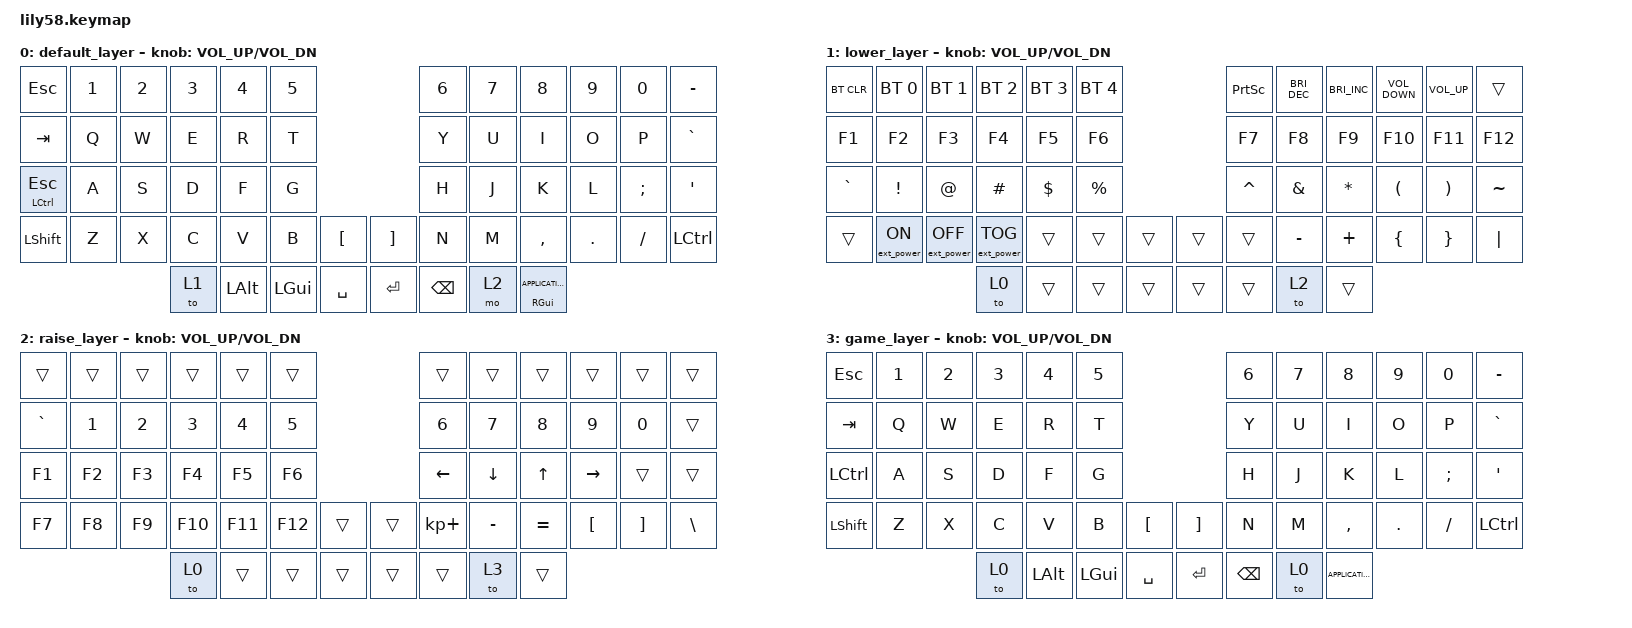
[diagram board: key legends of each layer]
/*
 * Copyright (c) 2020 The ZMK Contributors
 *
 * SPDX-License-Identifier: MIT
 */

#include <behaviors.dtsi>
#include <dt-bindings/zmk/keys.h>
#include <dt-bindings/zmk/bt.h>
#include <dt-bindings/zmk/ext_power.h>

/ {
    behaviors {
        bhm: balanced_homerow_mods {
            compatible = "zmk,behavior-hold-tap";
            #binding-cells = <2>;
            tapping-term-ms = <200>;    // <---[[moderate duration]]
            quick-tap-ms = <0>;
            flavor = "balanced";
            bindings = <&kp>, <&kp>;
        };
    };

    keymap {
        compatible = "zmk,keymap";

        default_layer {
// ------------------------------------------------------------------------------------------------------------
// |  ESC  |  1  |  2  |  3   |  4   |  5   |                   |  6   |  7    |  8    |  9   |   0   |   `   |
// |  TAB  |  Q  |  W  |  E   |  R   |  T   |                   |  Y   |  U    |  I    |  O   |   P   |   -   |
// |  CTRL |  A  |  S  |  D   |  F   |  G   |                   |  H   |  J    |  K    |  L   |   ;   |   '   |
// | SHIFT |  Z  |  X  |  C   |  V   |  B   |   "["  |  |  "]"  |  N   |  M    |  ,    |  .   |   /   |  ESC  |
//                     | ALT  | GUI  | LOWER|  SPACE |  | ENTER | RAISE| BSPC  | GUI   |
            bindings = <
&kp ESC          &kp N1 &kp N2 &kp N3   &kp N4   &kp N5                          &kp N6    &kp N7   &kp N8    &kp N9  &kp N0   &kp MINUS
&kp TAB          &kp Q  &kp W  &kp E    &kp R    &kp T                           &kp Y     &kp U    &kp I     &kp O   &kp P    &kp GRAVE
&bhm LCTRL ESC   &kp A  &kp S  &kp D    &kp F    &kp G                           &kp H     &kp J    &kp K     &kp L   &kp SEMI &kp SQT
&kp LSHFT        &kp Z  &kp X  &kp C    &kp V    &kp B    &kp LBKT    &kp RBKT   &kp N     &kp M    &kp COMMA &kp DOT &kp FSLH &kp LCTRL
                               &to 1    &kp LALT &kp LGUI &kp SPACE   &kp RET    &kp BSPC  &mo 2    &bhm RGUI K_APPLICATION
            >;

            sensor-bindings = <&inc_dec_kp C_VOL_UP C_VOL_DN>;
        };

        lower_layer {
// ------------------------------------------------------------------------------------------------------------
// | BTCLR | BT1 | BT2 |  BT3 |  BT4 |  BT5 |                   |      |       |       |      |       |       |
// |  F1   |  F2 |  F3 |  F4  |  F5  |  F6  |                   |  F7  |  F8   |  F9   |  F10 |  F11  |  F12  |
// |   `   |  !  |  @  |  #   |  $   |  %   |                   |  ^   |  &    |  *    |  (   |   )   |   ~   |
// |       |     |     |      |      |      |        |  |       |      |  _    |  +    |  {   |   }   |  "|"  |
//                     |      |      |      |        |  |       |      |       |       |
            bindings = <
&bt BT_CLR &bt BT_SEL 0     &bt BT_SEL 1      &bt BT_SEL 2      &bt BT_SEL 3 &bt BT_SEL 4                 &kp PRINTSCREEN     &kp C_BRIGHTNESS_DEC    &kp  C_BRIGHTNESS_INC  &kp C_VOLUME_DOWN   &kp  C_VOLUME_UP   &trans
&kp F1     &kp F2           &kp F3            &kp F4            &kp F5       &kp F6                       &kp F7    &kp F8    &kp F9    &kp F10   &kp F11   &kp F12
&kp GRAVE  &kp EXCL         &kp AT            &kp HASH          &kp DOLLAR   &kp PRCNT                    &kp CARET &kp AMPS  &kp ASTRK &kp LPAR  &kp RPAR  &kp TILDE
&trans     &ext_power EP_ON &ext_power EP_OFF &ext_power EP_TOG &trans       &trans    &trans   &trans    &trans    &kp MINUS &kp PLUS  &kp LBRC  &kp RBRC  &kp PIPE
                                              &to 0             &trans       &trans    &trans   &trans    &trans    &to 2     &trans
            >;

            sensor-bindings = <&inc_dec_kp C_VOL_UP C_VOL_DN>;
        };

        raise_layer {
// ------------------------------------------------------------------------------------------------------------
// |       |     |     |      |      |      |                   |      |       |       |      |       |       |
// |   `   |  1  |  2  |  3   |  4   |  5   |                   |  6   |   7   |   8   |  9   |   0   |       |
// |   F1  |  F2 |  F3 |  F4  |  F5  |  F6  |                   |      |   <-  |   v   |  ^   |  ->   |       |
// |   F7  |  F8 |  F9 |  F10 |  F11 |  F12 |        |  |       |  +   |   -   |   =   |  [   |   ]   |   \   |
//                     |      |      |      |        |  |       |      |       |       |
            bindings = <
&trans    &trans &trans &trans  &trans  &trans                       &trans      &trans    &trans    &trans   &trans    &trans
&kp GRAVE &kp N1 &kp N2 &kp N3  &kp N4  &kp N5                       &kp N6      &kp N7    &kp N8    &kp N9   &kp N0    &trans
&kp F1    &kp F2 &kp F3 &kp F4  &kp F5  &kp F6                       &kp LEFT    &kp DOWN  &kp UP    &kp RIGHT &trans   &trans
&kp F7    &kp F8 &kp F9 &kp F10 &kp F11 &kp F12   &trans   &trans    &kp KP_PLUS &kp MINUS &kp EQUAL &kp LBKT &kp RBKT  &kp BSLH
                        &to 0   &trans  &trans    &trans   &trans    &trans      &to 3     &trans
            >;

            sensor-bindings = <&inc_dec_kp C_VOL_UP C_VOL_DN>;
        };

        game_layer {
// ------------------------------------------------------------------------------------------------------------
// |  ESC  |  1  |  2  |  3   |  4   |  5   |                   |  6   |  7    |  8    |  9   |   0   |   `   |
// |  TAB  |  Q  |  W  |  E   |  R   |  T   |                   |  Y   |  U    |  I    |  O   |   P   |   -   |
// |  CTRL |  A  |  S  |  D   |  F   |  G   |                   |  H   |  J    |  K    |  L   |   ;   |   '   |
// | SHIFT |  Z  |  X  |  C   |  V   |  B   |   "["  |  |  "]"  |  N   |  M    |  ,    |  .   |   /   |  ESC  |
//                     | ALT  | GUI  | LOWER|  SPACE |  | ENTER | RAISE| BSPC  | GUI   |
            bindings = <
&kp ESC   &kp N1 &kp N2 &kp N3   &kp N4   &kp N5                       &kp N6   &kp N7   &kp N8    &kp N9  &kp N0   &kp MINUS
&kp TAB   &kp Q  &kp W  &kp E    &kp R    &kp T                        &kp Y    &kp U    &kp I     &kp O   &kp P    &kp GRAVE
&kp LCTRL &kp A  &kp S  &kp D    &kp F    &kp G                        &kp H    &kp J    &kp K     &kp L   &kp SEMI &kp SQT
&kp LSHFT &kp Z  &kp X  &kp C    &kp V    &kp B    &kp LBKT   &kp RBKT &kp N    &kp M    &kp COMMA &kp DOT &kp FSLH &kp LCTRL
                        &to 0    &kp LALT &kp LGUI &kp SPACE  &kp RET  &kp BSPC &to 0    &kp K_APPLICATION
            >;

            sensor-bindings = <&inc_dec_kp C_VOL_UP C_VOL_DN>;
        };
    };
};
